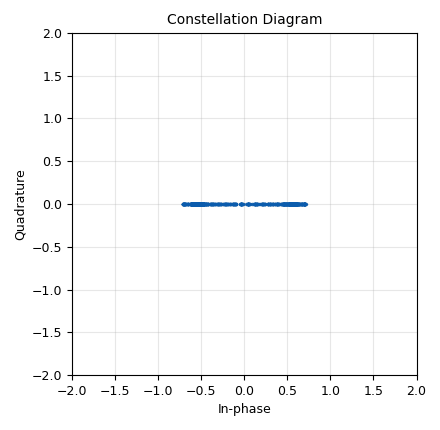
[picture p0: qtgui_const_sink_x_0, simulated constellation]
<?xml version='1.0' encoding='utf-8'?>
<?grc format='1' created='3.7.10'?>
<flow_graph>
<block>
<key>options</key>
<param><key>id</key><value>top_block</value></param>
<param><key>generate_options</key><value>qt_gui</value></param>
</block>
<block>
<key>variable_constellation</key>
<param><key>id</key><value>BPSK</value></param>
<param><key>const_points</key><value>[-1,1]</value></param>
<param><key>type</key><value>calcdist</value></param>
<param><key>dims</key><value>1</value></param>
<param><key>rot_sym</key><value>2</value></param>
<param><key>precision</key><value>8</value></param>
<param><key>sym_map</key><value>[0, 1,]</value></param>
</block>
<block>
<key>variable_constellation</key>
<param><key>id</key><value>QAM_16</value></param>
<param><key>const_points</key><value>[(-3-3j),(-1-3j),(1-3j),(3-3j),(-3-1j),(-1-1j),(1-1j),(3-1j),(-3+1j),(-1+1j),(1+1j),(3+1j),(-3+3j),(-1+3j),(1+3j),(3+3j)]</value></param>
<param><key>type</key><value>calcdist</value></param>
<param><key>dims</key><value>1</value></param>
<param><key>_enabled</key><value>0</value></param>
<param><key>rot_sym</key><value>4</value></param>
<param><key>precision</key><value>8</value></param>
<param><key>sym_map</key><value>[0, 4, 12, 8, 1, 5, 13, 9, 3, 7, 15, 11, 2, 6, 14, 10]</value></param>
</block>
<block>
<key>variable_constellation</key>
<param><key>id</key><value>QPSK</value></param>
<param><key>const_points</key><value>[(-1-1j),(-1+1j),(1+1j),(1-1j)]</value></param>
<param><key>type</key><value>calcdist</value></param>
<param><key>dims</key><value>1</value></param>
<param><key>_enabled</key><value>0</value></param>
<param><key>rot_sym</key><value>4</value></param>
<param><key>precision</key><value>8</value></param>
<param><key>sym_map</key><value>[0, 1, 3, 2]</value></param>
</block>
<block>
<key>variable</key>
<param><key>id</key><value>addr</value></param>
<param><key>value</key><value>"192.168.1.100"</value></param>
</block>
<block>
<key>variable_qtgui_range</key>
<param><key>id</key><value>ampl</value></param>
<param><key>value</key><value>0.5</value></param>
<param><key>label</key><value>ampl</value></param>
<param><key>orient</key><value>Qt.Horizontal</value></param>
<param><key>start</key><value>0</value></param>
<param><key>step</key><value>0.05</value></param>
<param><key>stop</key><value>2</value></param>
</block>
<block>
<key>variable_qtgui_range</key>
<param><key>id</key><value>noise_volt</value></param>
<param><key>value</key><value>0.000100</value></param>
<param><key>_enabled</key><value>0</value></param>
<param><key>label</key><value>noise_voltage</value></param>
<param><key>orient</key><value>Qt.Horizontal</value></param>
<param><key>start</key><value>0</value></param>
<param><key>step</key><value>0.01</value></param>
<param><key>stop</key><value>1</value></param>
</block>
<block>
<key>variable_qtgui_check_box</key>
<param><key>id</key><value>ptt</value></param>
<param><key>value</key><value>False</value></param>
<param><key>false</key><value>False</value></param>
<param><key>gui_hint</key><value>0,0,1,1</value></param>
<param><key>true</key><value>True</value></param>
<param><key>type</key><value>int</value></param>
</block>
<block>
<key>variable</key>
<param><key>id</key><value>tx_samp_rate</value></param>
<param><key>value</key><value>1250000</value></param>
</block>
<block>
<key>variable_qtgui_chooser</key>
<param><key>id</key><value>variable_qtgui_chooser_0</value></param>
<param><key>value</key><value>0</value></param>
<param><key>num_opts</key><value>3</value></param>
<param><key>option0</key><value>0</value></param>
<param><key>option1</key><value>1</value></param>
<param><key>option2</key><value>2</value></param>
<param><key>type</key><value>int</value></param>
</block>
<block>
<key>variable_rrc_filter_taps</key>
<param><key>id</key><value>variable_rrc_filter_taps_0</value></param>
<param><key>_enabled</key><value>0</value></param>
<param><key>alpha</key><value>0.35</value></param>
<param><key>gain</key><value>1.0</value></param>
<param><key>ntaps</key><value>11*25</value></param>
<param><key>samp_rate</key><value>tx_samp_rate</value></param>
<param><key>sym_rate</key><value>tx_samp_rate/25</value></param>
</block>
<block>
<key>analog_random_source_x</key>
<param><key>id</key><value>analog_random_source_x_0</value></param>
<param><key>max</key><value>256</value></param>
<param><key>min</key><value>0</value></param>
<param><key>num_samps</key><value>1000000</value></param>
<param><key>type</key><value>byte</value></param>
<param><key>repeat</key><value>True</value></param>
</block>
<block>
<key>blocks_multiply_const_vxx</key>
<param><key>id</key><value>blocks_multiply_const_vxx_0</value></param>
<param><key>const</key><value>ampl</value></param>
<param><key>type</key><value>complex</value></param>
</block>
<block>
<key>blocks_unpacked_to_packed_xx</key>
<param><key>id</key><value>blocks_unpacked_to_packed_xx_0</value></param>
<param><key>bits_per_chunk</key><value>1</value></param>
<param><key>_enabled</key><value>2</value></param>
<param><key>endianness</key><value>gr.GR_MSB_FIRST</value></param>
<param><key>type</key><value>byte</value></param>
</block>
<block>
<key>blocks_vector_source_x</key>
<param><key>id</key><value>blocks_vector_source_x_0</value></param>
<param><key>_enabled</key><value>0</value></param>
<param><key>type</key><value>byte</value></param>
<param><key>repeat</key><value>True</value></param>
<param><key>vector</key><value>(1,1,0,1,0,0,1,0,1,1,0,0,0,1,1,0,0,0,1,1,1,0,0,1,1,1,0,0,1,1)</value></param>
</block>
<block>
<key>digital_constellation_modulator</key>
<param><key>id</key><value>digital_constellation_modulator_0</value></param>
<param><key>constellation</key><value>BPSK</value></param>
<param><key>differential</key><value>True</value></param>
<param><key>excess_bw</key><value>0.7</value></param>
<param><key>samples_per_symbol</key><value>25</value></param>
</block>
<block>
<key>channels_channel_model</key>
<param><key>id</key><value>hudhd</value></param>
<param><key>_enabled</key><value>2</value></param>
<param><key>epsilon</key><value>1</value></param>
<param><key>freq_offset</key><value>0</value></param>
<param><key>noise_voltage</key><value>noise_volt</value></param>
<param><key>seed</key><value>0</value></param>
<param><key>taps</key><value>1</value></param>
</block>
<block>
<key>qtgui_const_sink_x</key>
<param><key>id</key><value>qtgui_const_sink_x_0</value></param>
<param><key>name</key><value>Constellation Diagram</value></param>
<param><key>size</key><value>1024</value></param>
<param><key>type</key><value>complex</value></param>
</block>
<block>
<key>qtgui_time_sink_x</key>
<param><key>id</key><value>qtgui_time_sink_x_0</value></param>
<param><key>_enabled</key><value>0</value></param>
<param><key>color1</key><value>"blue"</value></param>
<param><key>label1</key><value></value></param>
<param><key>color2</key><value>"red"</value></param>
<param><key>label2</key><value></value></param>
<param><key>size</key><value>1024</value></param>
<param><key>srate</key><value>tx_samp_rate</value></param>
<param><key>type</key><value>complex</value></param>
</block>
<block>
<key>red_pitaya_wide_sink</key>
<param><key>id</key><value>red_pitaya_wide_sink_1</value></param>
<param><key>addr</key><value>192.168.1.100</value></param>
<param><key>freq</key><value>0</value></param>
<param><key>corr</key><value>0</value></param>
<param><key>mask</key><value>3</value></param>
<param><key>ptt</key><value>True</value></param>
<param><key>port</key><value>1001</value></param>
<param><key>rate</key><value>tx_samp_rate</value></param>
</block>
<block>
<key>fir_filter_xxx</key>
<param><key>id</key><value>varia</value></param>
<param><key>decim</key><value>1</value></param>
<param><key>_enabled</key><value>2</value></param>
<param><key>taps</key><value>variable_rrc_filter_taps_0</value></param>
<param><key>type</key><value>ccc</value></param>
</block>
<connection><source_block_id>analog_random_source_x_0</source_block_id><sink_block_id>blocks_unpacked_to_packed_xx_0</sink_block_id><source_key>0</source_key><sink_key>0</sink_key></connection>
<connection><source_block_id>blocks_multiply_const_vxx_0</source_block_id><sink_block_id>hudhd</sink_block_id><source_key>0</source_key><sink_key>0</sink_key></connection>
<connection><source_block_id>blocks_unpacked_to_packed_xx_0</source_block_id><sink_block_id>digital_constellation_modulator_0</sink_block_id><source_key>0</source_key><sink_key>0</sink_key></connection>
<connection><source_block_id>blocks_vector_source_x_0</source_block_id><sink_block_id>blocks_unpacked_to_packed_xx_0</sink_block_id><source_key>0</source_key><sink_key>0</sink_key></connection>
<connection><source_block_id>digital_constellation_modulator_0</source_block_id><sink_block_id>blocks_multiply_const_vxx_0</sink_block_id><source_key>0</source_key><sink_key>0</sink_key></connection>
<connection><source_block_id>hudhd</source_block_id><sink_block_id>varia</sink_block_id><source_key>0</source_key><sink_key>0</sink_key></connection>
<connection><source_block_id>varia</source_block_id><sink_block_id>qtgui_const_sink_x_0</sink_block_id><source_key>0</source_key><sink_key>0</sink_key></connection>
<connection><source_block_id>varia</source_block_id><sink_block_id>qtgui_time_sink_x_0</sink_block_id><source_key>0</source_key><sink_key>0</sink_key></connection>
<connection><source_block_id>varia</source_block_id><sink_block_id>red_pitaya_wide_sink_1</sink_block_id><source_key>0</source_key><sink_key>0</sink_key></connection>
</flow_graph>
